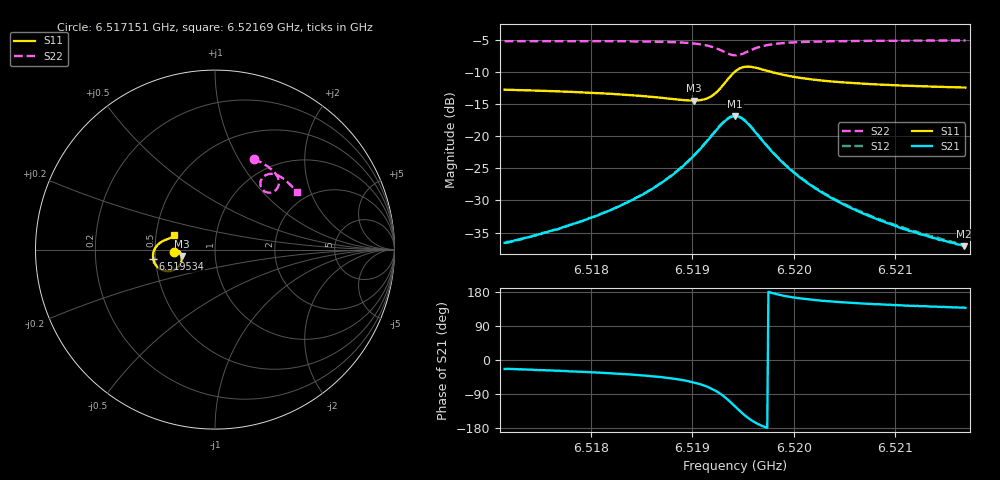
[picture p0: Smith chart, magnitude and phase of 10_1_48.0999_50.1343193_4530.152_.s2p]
#  HZ  S  RI  R  50.00
! Rohde & Schwarz Vector Network Analyzer
! Rohde-Schwarz,ZNB20-2Port,1311601062101988,3.16
! Created: UTC 12/23/2023, 3:35:33 AM
! freq[Hz]  re:S11  im:S11  re:S21  im:S21  re:S12  im:S12  re:S22  im:S22
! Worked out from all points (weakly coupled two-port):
!   401 points, 6.517151 GHz to 6.52169 GHz, reference 50 ohm
!   highest |S21| = -16.87 dB at 6.51942 GHz (marker M1); lowest = -37.1 dB at 6.521679 GHz (marker M2)
!   lowest |S11| = -14.5 dB at 6.519012 GHz (marker M3), VSWR 1.47, Z = 34.2 - j2.5 ohm
!   |S11| at or under -10 dB: start of sweep to 6.519416 GHz; 6.519779 GHz to end of sweep
!   |S22| runs from -7.4 to -5.1 dB; largest |S21 - S12| = 0.0042
!   S11 on the Smith chart (normalised r, x): 6.517151 GHz: 0.63, -0.02; 6.519534 GHz: 0.49, -0.06; 6.52169 GHz: 0.62, +0.10
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6.5171506e9  -0.2298 -0.0138  0.0136 -0.00595  0.0137 -0.00534  0.2149 0.5049
6.517491e9  -0.226 -0.00907  0.0154 -0.00777  0.0158 -0.00722  0.2397 0.4939
6.5179109e9  -0.2196 -0.00435  0.0186 -0.0112  0.0191 -0.0106  0.2709 0.4776
6.5183762e9  -0.2093 -0.00343  0.0245 -0.0191  0.0251 -0.0184  0.306 0.454
6.5186712e9  -0.1998 -0.0086  0.03 -0.0295  0.031 -0.0288  0.3291 0.433
6.5188188e9  -0.1937 -0.0155  0.0332 -0.0387  0.0346 -0.038  0.3406 0.419
6.5190117e9  -0.186 -0.0352  0.036 -0.0601  0.0381 -0.0594  0.3536 0.3917
6.5191138e9  -0.1854 -0.0546  0.0333 -0.0789  0.0358 -0.0786  0.356 0.3705
6.5192046e9  -0.1934 -0.0797  0.0222 -0.1017  0.0253 -0.1018  0.3503 0.3472
6.5193295e9  -0.2382 -0.117  -0.0234 -0.1309  -0.0198 -0.1327  0.3148 0.3184
6.5194203e9  -0.298 -0.1128  -0.0768 -0.121  -0.074 -0.1242  0.2734 0.3267
6.519477e9  -0.3289 -0.0872  -0.1014 -0.0952  -0.0995 -0.0988  0.2561 0.3487
6.5195337e9  -0.3437 -0.0542  -0.1109 -0.0648  -0.1099 -0.0684  0.253 0.3741
6.5196472e9  -0.3377 -0.000251  -0.0997 -0.0194  -0.0999 -0.0224  0.2726 0.4085
6.5197607e9  -0.3178 0.028  -0.0795 0.0017  -0.0803 -0.00071  0.2982 0.4205
6.519965e9  -0.2892 0.0482  -0.0535 0.0129  -0.0544 0.0116  0.3336 0.419
6.5201806e9  -0.2708 0.0563  -0.0381 0.0148  -0.0388 0.0138  0.3591 0.409
6.5205097e9  -0.254 0.0626  -0.0255 0.0138  -0.0262 0.0131  0.3876 0.3902
6.520941e9  -0.2408 0.0688  -0.0174 0.0117  -0.0178 0.0114  0.4162 0.3645
6.521236e9  -0.2342 0.0729  -0.0137 0.0107  -0.0143 0.0104  0.4331 0.3465
6.5216786e9  -0.2262 0.0788  -0.0104 0.00932  -0.0108 0.00922  0.4555 0.3192
6.52169e9  -0.2258 0.079  -0.0103 0.00941  -0.0107 0.00923  0.456 0.3185
